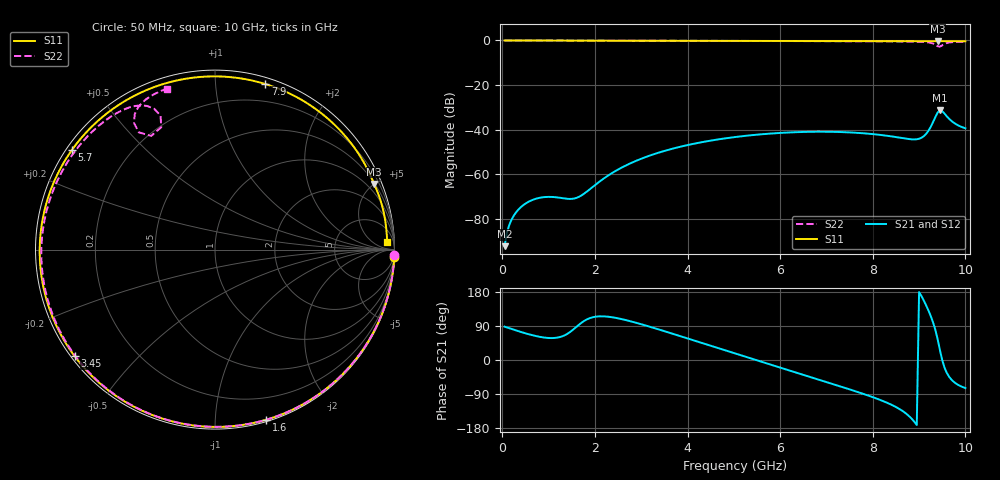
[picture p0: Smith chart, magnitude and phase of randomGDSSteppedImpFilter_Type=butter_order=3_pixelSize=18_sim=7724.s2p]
! freq	dB(S11)	phase(S11)	dB(S12)	phase(S12)
!  dB(S21)	phase(S21)	dB(S22)	phase(S22)
!S-par simulation data
#  GHz  S  DB  R 50
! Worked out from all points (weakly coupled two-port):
!   200 points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, 50 MHz to 10 GHz, reference 50 ohm
!   highest |S21| = -31.31 dB at 9.45 GHz (marker M1); lowest = -92.2 dB at 50 MHz (marker M2)
!   lowest |S11| = -0.4 dB at 9.4 GHz (marker M3), VSWR 48.08, Z = 27.2 + j249 ohm
!   |S11| at or under -10 dB: nowhere
!   |S22| runs from -2.8 to 0.0 dB; largest |S21 - S12| = 0
!   S11 on the Smith chart (normalised r, x): 50 MHz: 0, -47; 1.6 GHz: 0.01, -1.34; 3.45 GHz: 0.01, -0.34; 5.7 GHz: 0.02, +0.31; 7.9 GHz: 0.05, +1.35; 10 GHz: 22, +24
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0.05  -0.00 -2.4  -92.16 88.0  -92.16 88.0  -0.00 -1.8
0.2  -0.01 -9.6  -80.27 81.9  -80.27 81.9  -0.01 -7.0
0.45  -0.03 -21.5  -73.83 72.2  -73.83 72.2  -0.02 -15.5
0.75  -0.05 -35.5  -70.77 62.6  -70.77 62.6  -0.03 -25.8
1.6  -0.09 -73.3  -70.54 87.4  -70.54 87.4  -0.07 -53.7
1.75  -0.09 -79.5  -68.87 101.8  -68.87 101.8  -0.07 -58.4
2.5  -0.12 -109.1  -57.83 110.0  -57.83 110.0  -0.10 -81.0
3.4  -0.16 -141.1  -50.11 79.9  -50.11 79.9  -0.13 -105.8
3.45  -0.16 -142.8  -49.80 78.0  -49.80 78.0  -0.13 -107.1
4.25  -0.19 -169.0  -45.80 47.2  -45.80 47.2  -0.16 -127.2
5.05  -0.22 165.6  -43.21 16.3  -43.21 16.3  -0.20 -146.0
5.7  -0.25 145.2  -41.86 -8.6  -41.86 -8.6  -0.23 -160.5
6.7  -0.29 113.1  -40.91 -46.7  -40.91 -46.7  -0.29 177.6
7.3  -0.31 93.3  -41.03 -69.7  -41.03 -69.7  -0.34 164.5
7.9  -0.32 73.1  -41.76 -93.8  -41.76 -93.8  -0.39 151.1
8.35  -0.32 57.8  -42.82 -115.1  -42.82 -115.1  -0.43 140.7
9.05  -0.34 34.0  -43.62 168.8  -43.62 168.8  -0.64 122.5
9.2  -0.35 29.0  -40.53 131.2  -40.53 131.2  -0.88 117.3
9.4  -0.36 22.4  -32.33 55.2  -32.33 55.2  -2.56 113.7
9.45  -0.36 20.8  -31.31 26.3  -31.31 26.3  -2.78 119.3
9.6  -0.33 15.8  -34.02 -34.4  -34.02 -34.4  -1.13 120.6
10  -0.35 2.6  -39.37 -74.0  -39.37 -74.0  -0.58 106.6
